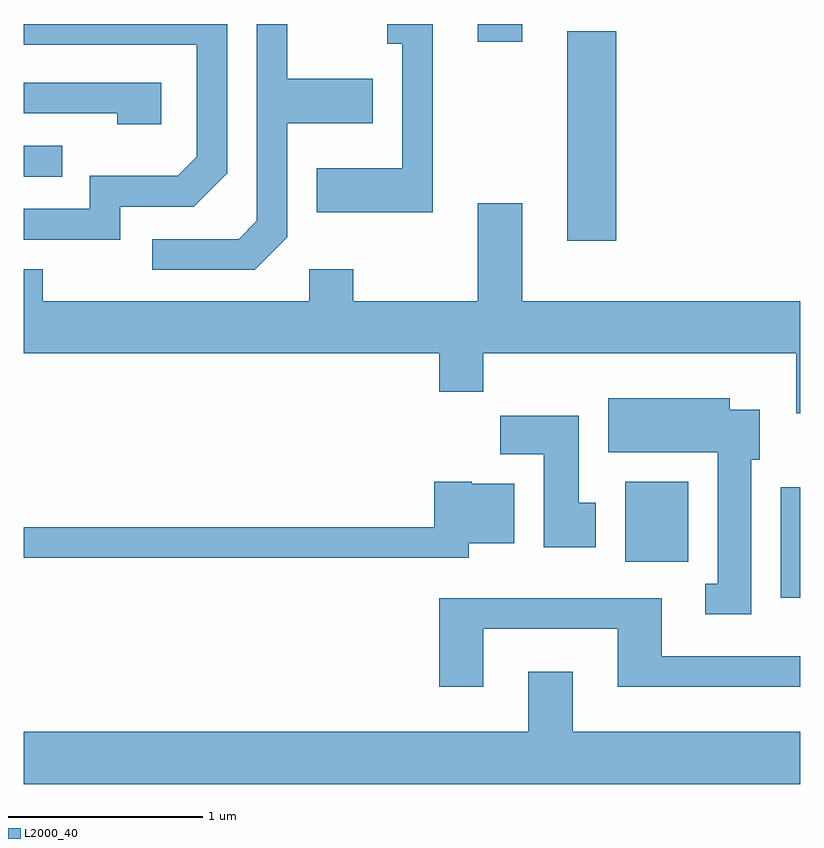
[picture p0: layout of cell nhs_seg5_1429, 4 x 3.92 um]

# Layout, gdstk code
import gdstk
lib = gdstk.Library(unit=1e-6, precision=1e-09)
def R(c, l, rs):  # rectangles x0, y0, x1, y1
    for r in rs: c.add(gdstk.rectangle(r[:2], r[2:], *l))
def P(c, l, *ps):  # polygons
    for p in ps: c.add(gdstk.Polygon(p, *l))
L2000_40 = (2000, 40)

nhs_seg5_1429 = lib.new_cell('nhs_seg5_1429')
R(nhs_seg5_1429, L2000_40, [(231.511,1431.116,231.611,1431.684), (230.711,1431.301,231.034,1431.714), (230.411,1432.956,230.664,1434.034), (227.611,1433.286,227.808,1433.444), (229.951,1433.981,230.179,1434.072)])
P(nhs_seg5_1429, L2000_40, [(229.719,1434.072),(229.483,1434.072),(229.483,1433.971),(229.561,1433.971),(229.561,1433.329),(229.121,1433.329),(229.121,1433.101),(229.719,1433.101)],
  [(228.109,1433.131),(228.487,1433.131),(228.659,1433.304),(228.659,1434.072),(227.611,1434.072),(227.611,1433.966),(228.501,1433.966),(228.501,1433.387),(228.404,1433.289),(227.951,1433.289),(227.951,1433.119),(227.611,1433.119),(227.611,1432.961),(228.109,1432.961)],
  [(228.969,1432.974),(228.969,1433.561),(229.409,1433.561),(229.409,1433.789),(228.969,1433.789),(228.969,1434.072),(228.811,1434.072),(228.811,1433.057),(228.719,1432.964),(228.273,1432.964),(228.273,1432.806),(228.802,1432.806)],
  [(228.319,1433.769),(227.611,1433.769),(227.611,1433.611),(228.091,1433.611),(228.091,1433.556),(228.319,1433.556)],
  [(231.611,1432.644),(230.179,1432.644),(230.179,1433.149),(229.951,1433.149),(229.951,1432.644),(229.309,1432.644),(229.309,1432.809),(229.081,1432.809),(229.081,1432.644),(227.709,1432.644),(227.709,1432.809),(227.611,1432.809),(227.611,1432.376),(229.751,1432.376),(229.751,1432.176),(229.979,1432.176),(229.979,1432.376),(231.591,1432.376),(231.591,1432.066),(231.611,1432.066)],
  [(231.359,1431.826),(231.404,1431.826),(231.404,1432.084),(231.249,1432.084),(231.249,1432.144),(230.621,1432.144),(230.621,1431.866),(231.186,1431.866),(231.186,1431.189),(231.123,1431.189),(231.123,1431.031),(231.359,1431.031)],
  [(230.559,1431.604),(230.469,1431.604),(230.469,1432.054),(230.066,1432.054),(230.066,1431.856),(230.291,1431.856),(230.291,1431.376),(230.559,1431.376)],
  [(229.904,1431.396),(230.139,1431.396),(230.139,1431.704),(229.92,1431.704),(229.92,1431.714),(229.726,1431.714),(229.726,1431.479),(227.611,1431.479),(227.611,1431.321),(229.904,1431.321)],
  [(229.979,1430.956),(230.671,1430.956),(230.671,1430.656),(231.611,1430.656),(231.611,1430.814),(230.899,1430.814),(230.899,1431.114),(229.751,1431.114),(229.751,1430.656),(229.979,1430.656)],
  [(231.611,1430.424),(230.439,1430.424),(230.439,1430.734),(230.211,1430.734),(230.211,1430.424),(227.611,1430.424),(227.611,1430.156),(231.611,1430.156)])

lib.write_gds('nhs_seg5_1429.gds')
